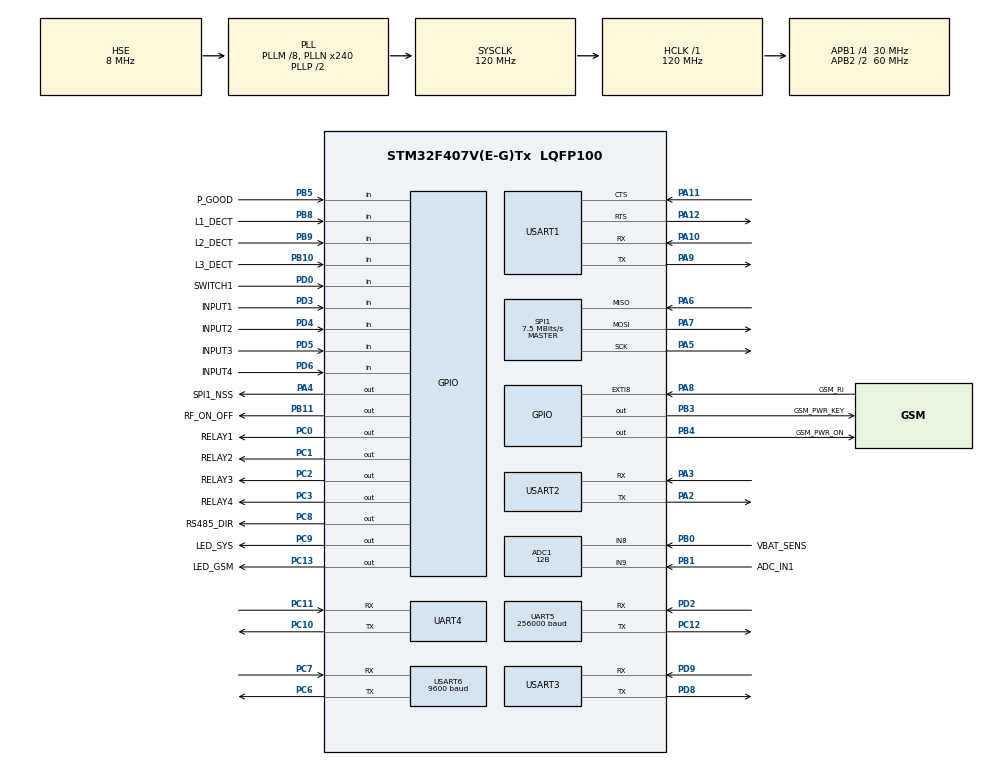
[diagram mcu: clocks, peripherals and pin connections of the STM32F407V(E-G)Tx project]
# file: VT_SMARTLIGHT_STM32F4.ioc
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ADC1.Channel-0\#ChannelRegularConversion=ADC_CHANNEL_8
ADC1.Channel-1\#ChannelRegularConversion=ADC_CHANNEL_8
ADC1.ClockPrescaler=ADC_CLOCK_SYNC_PCLK_DIV8
ADC1.ContinuousConvMode=ENABLE
ADC1.DMAContinuousRequests=ENABLE
ADC1.DataAlign=ADC_DATAALIGN_RIGHT
ADC1.DiscontinuousConvMode=DISABLE
ADC1.EOCSelection=ADC_EOC_SEQ_CONV
ADC1.EnableAnalogWatchDog=true
ADC1.ExternalTrigConv=ADC_SOFTWARE_START
ADC1.ExternalTrigConvEdge=ADC_EXTERNALTRIGCONVEDGE_NONE
ADC1.HighThreshold=0
ADC1.ITMode=DISABLE
ADC1.InjNumberOfConversion=0
ADC1.LowThreshold=0
ADC1.NbrOfConversion=2
ADC1.NbrOfConversionFlag=1
ADC1.Rank-0\#ChannelRegularConversion=1
ADC1.Rank-1\#ChannelRegularConversion=2
ADC1.Resolution=ADC_RESOLUTION_12B
ADC1.SamplingTime-0\#ChannelRegularConversion=ADC_SAMPLETIME_480CYCLES
ADC1.SamplingTime-1\#ChannelRegularConversion=ADC_SAMPLETIME_480CYCLES
ADC1.ScanConvMode=ENABLE
ADC1.WatchdogChannel=ADC_CHANNEL_8
ADC1.WatchdogMode=ADC_ANALOGWATCHDOG_SINGLE_REG
ADC1.master=1
Dma.ADC1.12.Direction=DMA_PERIPH_TO_MEMORY
Dma.ADC1.12.FIFOMode=DMA_FIFOMODE_DISABLE
Dma.ADC1.12.Instance=DMA2_Stream0
Dma.ADC1.12.MemDataAlignment=DMA_MDATAALIGN_HALFWORD
Dma.ADC1.12.MemInc=DMA_MINC_ENABLE
Dma.ADC1.12.Mode=DMA_NORMAL
Dma.ADC1.12.PeriphDataAlignment=DMA_PDATAALIGN_HALFWORD
Dma.ADC1.12.PeriphInc=DMA_PINC_DISABLE
Dma.ADC1.12.Priority=DMA_PRIORITY_LOW
Dma.Request0=UART4_RX
Dma.Request1=UART4_TX
Dma.Request10=USART6_RX
Dma.Request11=USART6_TX
Dma.Request12=ADC1
Dma.Request2=UART5_TX
Dma.Request3=UART5_RX
Dma.Request4=USART1_TX
Dma.Request5=USART1_RX
Dma.Request6=USART2_RX
Dma.Request7=USART2_TX
Dma.Request8=USART3_RX
Dma.Request9=USART3_TX
Dma.UART4_RX.0.Direction=DMA_PERIPH_TO_MEMORY
Dma.UART4_RX.0.FIFOMode=DMA_FIFOMODE_DISABLE
Dma.UART4_RX.0.Instance=DMA1_Stream2
Dma.UART4_RX.0.MemDataAlignment=DMA_MDATAALIGN_BYTE
Dma.UART4_RX.0.MemInc=DMA_MINC_ENABLE
Dma.UART4_RX.0.Mode=DMA_CIRCULAR
Dma.UART4_RX.0.PeriphDataAlignment=DMA_PDATAALIGN_BYTE
Dma.UART4_RX.0.PeriphInc=DMA_PINC_DISABLE
Dma.UART4_RX.0.Priority=DMA_PRIORITY_LOW
Dma.UART4_TX.1.Direction=DMA_MEMORY_TO_PERIPH
Dma.UART4_TX.1.FIFOMode=DMA_FIFOMODE_DISABLE
Dma.UART4_TX.1.Instance=DMA1_Stream4
Dma.UART4_TX.1.MemDataAlignment=DMA_MDATAALIGN_BYTE
Dma.UART4_TX.1.MemInc=DMA_MINC_ENABLE
Dma.UART4_TX.1.Mode=DMA_NORMAL
Dma.UART4_TX.1.PeriphDataAlignment=DMA_PDATAALIGN_BYTE
Dma.UART4_TX.1.PeriphInc=DMA_PINC_DISABLE
Dma.UART4_TX.1.Priority=DMA_PRIORITY_LOW
Dma.UART5_RX.3.Direction=DMA_PERIPH_TO_MEMORY
Dma.UART5_RX.3.FIFOMode=DMA_FIFOMODE_DISABLE
Dma.UART5_RX.3.Instance=DMA1_Stream0
Dma.UART5_RX.3.MemDataAlignment=DMA_MDATAALIGN_BYTE
Dma.UART5_RX.3.MemInc=DMA_MINC_ENABLE
Dma.UART5_RX.3.Mode=DMA_CIRCULAR
Dma.UART5_RX.3.PeriphDataAlignment=DMA_PDATAALIGN_BYTE
Dma.UART5_RX.3.PeriphInc=DMA_PINC_DISABLE
Dma.UART5_RX.3.Priority=DMA_PRIORITY_LOW
Dma.UART5_TX.2.Direction=DMA_MEMORY_TO_PERIPH
Dma.UART5_TX.2.FIFOMode=DMA_FIFOMODE_DISABLE
Dma.UART5_TX.2.Instance=DMA1_Stream7
Dma.UART5_TX.2.MemDataAlignment=DMA_MDATAALIGN_BYTE
Dma.UART5_TX.2.MemInc=DMA_MINC_ENABLE
Dma.UART5_TX.2.Mode=DMA_NORMAL
Dma.UART5_TX.2.PeriphDataAlignment=DMA_PDATAALIGN_BYTE
Dma.UART5_TX.2.PeriphInc=DMA_PINC_DISABLE
Dma.UART5_TX.2.Priority=DMA_PRIORITY_LOW
Dma.USART1_RX.5.Direction=DMA_PERIPH_TO_MEMORY
Dma.USART1_RX.5.FIFOMode=DMA_FIFOMODE_DISABLE
Dma.USART1_RX.5.Instance=DMA2_Stream2
Dma.USART1_RX.5.MemDataAlignment=DMA_MDATAALIGN_BYTE
Dma.USART1_RX.5.MemInc=DMA_MINC_ENABLE
Dma.USART1_RX.5.Mode=DMA_CIRCULAR
Dma.USART1_RX.5.PeriphDataAlignment=DMA_PDATAALIGN_BYTE
Dma.USART1_RX.5.PeriphInc=DMA_PINC_DISABLE
Dma.USART1_RX.5.Priority=DMA_PRIORITY_HIGH
Dma.USART1_TX.4.Direction=DMA_MEMORY_TO_PERIPH
Dma.USART1_TX.4.FIFOMode=DMA_FIFOMODE_DISABLE
Dma.USART1_TX.4.Instance=DMA2_Stream7
Dma.USART1_TX.4.MemDataAlignment=DMA_MDATAALIGN_BYTE
Dma.USART1_TX.4.MemInc=DMA_MINC_ENABLE
Dma.USART1_TX.4.Mode=DMA_NORMAL
Dma.USART1_TX.4.PeriphDataAlignment=DMA_PDATAALIGN_BYTE
Dma.USART1_TX.4.PeriphInc=DMA_PINC_DISABLE
Dma.USART1_TX.4.Priority=DMA_PRIORITY_HIGH
Dma.USART2_RX.6.Direction=DMA_PERIPH_TO_MEMORY
Dma.USART2_RX.6.FIFOMode=DMA_FIFOMODE_DISABLE
Dma.USART2_RX.6.Instance=DMA1_Stream5
Dma.USART2_RX.6.MemDataAlignment=DMA_MDATAALIGN_BYTE
Dma.USART2_RX.6.MemInc=DMA_MINC_ENABLE
Dma.USART2_RX.6.Mode=DMA_CIRCULAR
Dma.USART2_RX.6.PeriphDataAlignment=DMA_PDATAALIGN_BYTE
Dma.USART2_RX.6.PeriphInc=DMA_PINC_DISABLE
Dma.USART2_RX.6.Priority=DMA_PRIORITY_LOW
Dma.USART2_TX.7.Direction=DMA_MEMORY_TO_PERIPH
Dma.USART2_TX.7.FIFOMode=DMA_FIFOMODE_DISABLE
Dma.USART2_TX.7.Instance=DMA1_Stream6
Dma.USART2_TX.7.MemDataAlignment=DMA_MDATAALIGN_BYTE
Dma.USART2_TX.7.MemInc=DMA_MINC_ENABLE
Dma.USART2_TX.7.Mode=DMA_NORMAL
Dma.USART2_TX.7.PeriphDataAlignment=DMA_PDATAALIGN_BYTE
Dma.USART2_TX.7.PeriphInc=DMA_PINC_DISABLE
Dma.USART2_TX.7.Priority=DMA_PRIORITY_LOW
Dma.USART3_RX.8.Direction=DMA_PERIPH_TO_MEMORY
Dma.USART3_RX.8.FIFOMode=DMA_FIFOMODE_DISABLE
Dma.USART3_RX.8.Instance=DMA1_Stream1
Dma.USART3_RX.8.MemDataAlignment=DMA_MDATAALIGN_BYTE
Dma.USART3_RX.8.MemInc=DMA_MINC_ENABLE
Dma.USART3_RX.8.Mode=DMA_CIRCULAR
Dma.USART3_RX.8.PeriphDataAlignment=DMA_PDATAALIGN_BYTE
Dma.USART3_RX.8.PeriphInc=DMA_PINC_DISABLE
Dma.USART3_RX.8.Priority=DMA_PRIORITY_LOW
Dma.USART3_TX.9.Direction=DMA_MEMORY_TO_PERIPH
Dma.USART3_TX.9.FIFOMode=DMA_FIFOMODE_DISABLE
Dma.USART3_TX.9.Instance=DMA1_Stream3
Dma.USART3_TX.9.MemDataAlignment=DMA_MDATAALIGN_BYTE
Dma.USART3_TX.9.MemInc=DMA_MINC_ENABLE
Dma.USART3_TX.9.Mode=DMA_NORMAL
Dma.USART3_TX.9.PeriphDataAlignment=DMA_PDATAALIGN_BYTE
Dma.USART3_TX.9.PeriphInc=DMA_PINC_DISABLE
Dma.USART3_TX.9.Priority=DMA_PRIORITY_LOW
Dma.USART6_RX.10.Direction=DMA_PERIPH_TO_MEMORY
Dma.USART6_RX.10.FIFOMode=DMA_FIFOMODE_DISABLE
Dma.USART6_RX.10.Instance=DMA2_Stream1
Dma.USART6_RX.10.MemDataAlignment=DMA_MDATAALIGN_BYTE
Dma.USART6_RX.10.MemInc=DMA_MINC_ENABLE
Dma.USART6_RX.10.Mode=DMA_CIRCULAR
Dma.USART6_RX.10.PeriphDataAlignment=DMA_PDATAALIGN_BYTE
Dma.USART6_RX.10.PeriphInc=DMA_PINC_DISABLE
Dma.USART6_RX.10.Priority=DMA_PRIORITY_LOW
Dma.USART6_TX.11.Direction=DMA_MEMORY_TO_PERIPH
Dma.USART6_TX.11.FIFOMode=DMA_FIFOMODE_DISABLE
Dma.USART6_TX.11.Instance=DMA2_Stream6
Dma.USART6_TX.11.MemDataAlignment=DMA_MDATAALIGN_BYTE
Dma.USART6_TX.11.MemInc=DMA_MINC_ENABLE
Dma.USART6_TX.11.Mode=DMA_NORMAL
Dma.USART6_TX.11.PeriphDataAlignment=DMA_PDATAALIGN_BYTE
Dma.USART6_TX.11.PeriphInc=DMA_PINC_DISABLE
Dma.USART6_TX.11.Priority=DMA_PRIORITY_LOW
FREERTOS.INCLUDE_eTaskGetState=1
FREERTOS.INCLUDE_pcTaskGetTaskName=1
FREERTOS.INCLUDE_vTaskDelayUntil=1
FREERTOS.INCLUDE_xTaskGetCurrentTaskHandle=1
FREERTOS.Tasks01=defaultTask,0,1024,StartDefaultTask,Default,NULL,Dynamic,NULL,NULL
FREERTOS.configCHECK_FOR_STACK_OVERFLOW=2
FREERTOS.configGENERATE_RUN_TIME_STATS=1
FREERTOS.configTOTAL_HEAP_SIZE=65536
FREERTOS.configUSE_COUNTING_SEMAPHORES=1
FREERTOS.configUSE_IDLE_HOOK=1
FREERTOS.configUSE_MALLOC_FAILED_HOOK=1
FREERTOS.configUSE_RECURSIVE_MUTEXES=1
FREERTOS.configUSE_STATS_FORMATTING_FUNCTIONS=1
FREERTOS.configUSE_TICK_HOOK=1
FREERTOS.configUSE_TRACE_FACILITY=1
Mcu.Family=STM32F4
Mcu.Name=STM32F407V(E-G)Tx
Mcu.Package=LQFP100
Mcu.UserConstants=configAPPLICATION_ALLOCATED_HEAP,1
NVIC.DMA1_Stream0_IRQn=true\:5\:0\:false\:false\:true\:true\:false
NVIC.DMA1_Stream1_IRQn=true\:5\:0\:false\:false\:true\:true\:false
NVIC.DMA1_Stream2_IRQn=true\:5\:0\:false\:false\:true\:true\:false
NVIC.DMA1_Stream3_IRQn=true\:5\:0\:false\:false\:true\:true\:false
NVIC.DMA1_Stream4_IRQn=true\:5\:0\:false\:false\:true\:true\:false
NVIC.DMA1_Stream5_IRQn=true\:5\:0\:false\:false\:true\:true\:false
NVIC.DMA1_Stream6_IRQn=true\:5\:0\:false\:false\:true\:true\:false
NVIC.DMA1_Stream7_IRQn=true\:5\:0\:false\:false\:true\:true\:false
NVIC.DMA2_Stream0_IRQn=true\:5\:0\:false\:false\:true\:true\:false
NVIC.DMA2_Stream1_IRQn=true\:5\:0\:false\:false\:true\:true\:false
NVIC.DMA2_Stream2_IRQn=true\:5\:0\:false\:false\:true\:true\:false
NVIC.DMA2_Stream6_IRQn=true\:5\:0\:false\:false\:true\:true\:false
NVIC.DMA2_Stream7_IRQn=true\:5\:0\:false\:false\:true\:true\:false
NVIC.EXTI9_5_IRQn=true\:5\:0\:false\:false\:true\:true\:true
NVIC.PriorityGroup=NVIC_PRIORITYGROUP_4
NVIC.RTC_Alarm_IRQn=true\:0\:0\:false\:false\:true\:false\:true
NVIC.TIM1_UP_TIM10_IRQn=true\:0\:0\:false\:false\:true\:false\:false
NVIC.TimeBase=TIM1_UP_TIM10_IRQn
NVIC.TimeBaseIP=TIM1
NVIC.UART4_IRQn=true\:5\:0\:false\:false\:true\:true\:true
NVIC.UART5_IRQn=true\:5\:0\:false\:false\:true\:true\:true
NVIC.USART1_IRQn=true\:5\:0\:false\:false\:true\:true\:true
NVIC.USART2_IRQn=true\:5\:0\:false\:false\:true\:true\:true
NVIC.USART3_IRQn=true\:5\:0\:false\:false\:true\:true\:true
NVIC.USART6_IRQn=true\:5\:0\:false\:false\:true\:true\:true
PA10.Mode=Asynchronous
PA10.Signal=USART1_RX
PA11.Mode=CTS_RTS
PA11.Signal=USART1_CTS
PA12.Mode=CTS_RTS
PA12.Signal=USART1_RTS
PA13.Mode=Serial_Wire
PA13.Signal=SYS_JTMS-SWDIO
PA14.Mode=Serial_Wire
PA14.Signal=SYS_JTCK-SWCLK
PA2.Mode=Asynchronous
PA2.Signal=USART2_TX
PA3.Mode=Asynchronous
PA3.Signal=USART2_RX
PA4.GPIO_Label=SPI1_NSS
PA4.GPIO_Speed=GPIO_SPEED_FREQ_VERY_HIGH
PA4.PinState=GPIO_PIN_SET
PA4.Signal=GPIO_Output
PA5.Mode=Full_Duplex_Master
PA5.Signal=SPI1_SCK
PA6.GPIO_PuPd=GPIO_PULLUP
PA6.Mode=Full_Duplex_Master
PA6.Signal=SPI1_MISO
PA7.Mode=Full_Duplex_Master
PA7.Signal=SPI1_MOSI
PA8.GPIO_Label=GSM_RI
PA8.GPIO_PuPd=GPIO_PULLUP
PA8.Signal=GPXTI8
PA9.Mode=Asynchronous
PA9.Signal=USART1_TX
PB0.GPIO_Label=VBAT_SENS
PB0.Signal=ADCx_IN8
PB1.GPIO_Label=ADC_IN1
PB1.Signal=ADCx_IN9
PB10.GPIO_Label=L3_DECT
PB10.Signal=GPIO_Input
PB11.GPIO_Label=RF_ON_OFF
PB11.Signal=GPIO_Output
PB3.GPIO_Label=GSM_PWR_KEY
PB3.Signal=GPIO_Output
PB4.GPIO_Label=GSM_PWR_ON
PB4.PinState=GPIO_PIN_SET
PB4.Signal=GPIO_Output
PB5.GPIO_Label=P_GOOD
PB5.Signal=GPIO_Input
PB8.GPIO_Label=L1_DECT
PB8.Signal=GPIO_Input
PB9.GPIO_Label=L2_DECT
PB9.Signal=GPIO_Input
PC0.GPIO_Label=RELAY1
PC0.Signal=GPIO_Output
PC1.GPIO_Label=RELAY2
PC1.Signal=GPIO_Output
PC10.Mode=Asynchronous
PC10.Signal=UART4_TX
PC11.Mode=Asynchronous
PC11.Signal=UART4_RX
PC12.Mode=Asynchronous
PC12.Signal=UART5_TX
PC13-ANTI_TAMP.GPIO_Label=LED_GSM
PC13-ANTI_TAMP.Signal=GPIO_Output
PC14-OSC32_IN.Mode=LSE-External-Oscillator
PC14-OSC32_IN.Signal=RCC_OSC32_IN
PC15-OSC32_OUT.Mode=LSE-External-Oscillator
PC15-OSC32_OUT.Signal=RCC_OSC32_OUT
PC2.GPIO_Label=RELAY3
PC2.Signal=GPIO_Output
PC3.GPIO_Label=RELAY4
PC3.Signal=GPIO_Output
PC6.Mode=Asynchronous
PC6.Signal=USART6_TX
PC7.Mode=Asynchronous
PC7.Signal=USART6_RX
PC8.GPIO_Label=RS485_DIR
PC8.Signal=GPIO_Output
PC9.GPIO_Label=LED_SYS
PC9.Signal=GPIO_Output
PD0.GPIO_Label=SWITCH1
PD0.Signal=GPIO_Input
PD2.Mode=Asynchronous
PD2.Signal=UART5_RX
PD3.GPIO_Label=INPUT1
PD3.Signal=GPIO_Input
PD4.GPIO_Label=INPUT2
PD4.Signal=GPIO_Input
PD5.GPIO_Label=INPUT3
PD5.Signal=GPIO_Input
PD6.GPIO_Label=INPUT4
PD6.Signal=GPIO_Input
PD8.Mode=Asynchronous
PD8.Signal=USART3_TX
PD9.Mode=Asynchronous
PD9.Signal=USART3_RX
PH0-OSC_IN.Mode=HSE-External-Oscillator
PH0-OSC_IN.Signal=RCC_OSC_IN
PH1-OSC_OUT.Mode=HSE-External-Oscillator
PH1-OSC_OUT.Signal=RCC_OSC_OUT
ProjectManager.HeapSize=0x10000
ProjectManager.StackSize=0x1000
ProjectManager.TargetToolchain=MDK-ARM V5
RCC.48MHZClocksFreq_Value=48000000
RCC.AHBFreq_Value=120000000
RCC.APB1CLKDivider=RCC_HCLK_DIV4
RCC.APB1Freq_Value=30000000
RCC.APB1TimFreq_Value=60000000
RCC.APB2CLKDivider=RCC_HCLK_DIV2
RCC.APB2Freq_Value=60000000
RCC.APB2TimFreq_Value=120000000
RCC.CortexFreq_Value=120000000
RCC.HCLKFreq_Value=120000000
RCC.HSE_VALUE=8000000
RCC.HSI_VALUE=16000000
RCC.PLLM=8
RCC.PLLN=240
RCC.PLLQ=5
RCC.PLLSourceVirtual=RCC_PLLSOURCE_HSE
RCC.RCC_RTC_Clock_Source=RCC_RTCCLKSOURCE_LSE
RCC.RCC_RTC_Clock_SourceVirtual=RCC_RTCCLKSOURCE_LSE
RCC.SYSCLKFreq_VALUE=120000000
RCC.SYSCLKSource=RCC_SYSCLKSOURCE_PLLCLK
RCC.VCOOutputFreq_Value=240000000
RTC.Alarm=RTC_ALARM_A
RTC.AlarmMaskSeconds=RTC_ALARMMASK_SECONDS
RTC.Date=9
RTC.Month=RTC_MONTH_NOVEMBER
RTC.WeekDay=RTC_WEEKDAY_THURSDAY
RTC.Year=17
SH.ADCx_IN8.0=ADC1_IN8,IN8
SH.ADCx_IN9.0=ADC1_IN9,IN9
SPI1.BaudRatePrescaler=SPI_BAUDRATEPRESCALER_8
SPI1.CalculateBaudRate=7.5 MBits/s
SPI1.Direction=SPI_DIRECTION_2LINES
SPI1.Mode=SPI_MODE_MASTER
SPI1.VirtualType=VM_MASTER
UART4.VirtualMode=Asynchronous
UART5.BaudRate=256000
UART5.VirtualMode=Asynchronous
USART1.VirtualMode=VM_ASYNC
USART2.VirtualMode=VM_ASYNC
USART3.VirtualMode=VM_ASYNC
USART6.BaudRate=9600
USART6.VirtualMode=VM_ASYNC
VP_FREERTOS_VS_ENABLE.Mode=Enabled
VP_IWDG_VS_IWDG.Mode=IWDG_Activate
VP_RNG_VS_RNG.Mode=RNG_Activate
VP_RTC_VS_RTC_Activate.Mode=RTC_Enabled
VP_RTC_VS_RTC_Alarm_A_Intern.Mode=Alarm A
VP_RTC_VS_RTC_Calendar.Mode=RTC_Calendar
VP_SYS_VS_tim1.Mode=TIM1
board=VT_SMARTLIGHT_STM32F4

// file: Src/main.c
/**
  ******************************************************************************
  * File Name          : main.c
  * Description        : Main program body
  ******************************************************************************
  * This notice applies to any and all portions of this file
  * that are not between comment pairs USER CODE BEGIN and
  * USER CODE END. Other portions of this file, whether
  * inserted by the user or by software development tools
  * are owned by their respective copyright owners.
  *
  * Copyright (c) 2018 STMicroelectronics International N.V.
  * All rights reserved.
  *
  * Redistribution and use in source and binary forms, with or without
  * modification, are permitted, provided that the following conditions are met:
  *
  * 1. Redistribution of source code must retain the above copyright notice,
  *    this list of conditions and the following disclaimer.
  * 2. Redistributions in binary form must reproduce the above copyright notice,
  *    this list of conditions and the following disclaimer in the documentation
  *    and/or other materials provided with the distribution.
  * 3. Neither the name of STMicroelectronics nor the names of other
  *    contributors to this software may be used to endorse or promote products
  *    derived from this software without specific written permission.
  * 4. This software, including modifications and/or derivative works of this
  *    software, must execute solely and exclusively on microcontroller or
  *    microprocessor devices manufactured by or for STMicroelectronics.
  * 5. Redistribution and use of this software other than as permitted under
  *    this license is void and will automatically terminate your rights under
  *    this license.
  *
  * THIS SOFTWARE IS PROVIDED BY STMICROELECTRONICS AND CONTRIBUTORS "AS IS"
  * AND ANY EXPRESS, IMPLIED OR STATUTORY WARRANTIES, INCLUDING, BUT NOT
  * LIMITED TO, THE IMPLIED WARRANTIES OF MERCHANTABILITY, FITNESS FOR A
  * PARTICULAR PURPOSE AND NON-INFRINGEMENT OF THIRD PARTY INTELLECTUAL PROPERTY
  * RIGHTS ARE DISCLAIMED TO THE FULLEST EXTENT PERMITTED BY LAW. IN NO EVENT
  * SHALL STMICROELECTRONICS OR CONTRIBUTORS BE LIABLE FOR ANY DIRECT, INDIRECT,
  * INCIDENTAL, SPECIAL, EXEMPLARY, OR CONSEQUENTIAL DAMAGES (INCLUDING, BUT NOT
  * LIMITED TO, PROCUREMENT OF SUBSTITUTE GOODS OR SERVICES; LOSS OF USE, DATA,
  * OR PROFITS; OR BUSINESS INTERRUPTION) HOWEVER CAUSED AND ON ANY THEORY OF
  * LIABILITY, WHETHER IN CONTRACT, STRICT LIABILITY, OR TORT (INCLUDING
  * NEGLIGENCE OR OTHERWISE) ARISING IN ANY WAY OUT OF THE USE OF THIS SOFTWARE,
  * EVEN IF ADVISED OF THE POSSIBILITY OF SUCH DAMAGE.
  *
  ******************************************************************************
  */

#include "main.h"
#include "stm32f4xx_hal.h"
#include "cmsis_os.h"

/* USER CODE BEGIN Includes */
#include "uart1.h"
#include "uart5.h"
#include "lib/sys_time.h"
#include "system_config.h"
#include "ampm_gsm_main_task.h"
#include "hw_config.h"
#include "lib/sys_time.h"
#include "ntp_server.h"
#include "smartlight.h"
/* FreeRTOS+Trace includes. */
#include "trcUser.h"
#include "watchdog.h"
#include "sha256.h"
#include "relay.h"
#include "led.h"
#include "test_spiffs.h"
/* USER CODE END Includes */

ADC_HandleTypeDef hadc1;
DMA_HandleTypeDef hdma_adc1;

IWDG_HandleTypeDef hiwdg;

RNG_HandleTypeDef hrng;

RTC_HandleTypeDef hrtc;
RTC_TimeTypeDef sTime;
RTC_DateTypeDef sDate;

SPI_HandleTypeDef hspi1;

UART_HandleTypeDef huart4;
UART_HandleTypeDef huart5;
UART_HandleTypeDef huart1;
UART_HandleTypeDef huart2;
UART_HandleTypeDef huart3;
UART_HandleTypeDef huart6;
DMA_HandleTypeDef hdma_uart4_rx;
DMA_HandleTypeDef hdma_uart4_tx;
DMA_HandleTypeDef hdma_uart5_tx;
DMA_HandleTypeDef hdma_uart5_rx;
DMA_HandleTypeDef hdma_usart1_tx;
DMA_HandleTypeDef hdma_usart1_rx;
DMA_HandleTypeDef hdma_usart2_rx;
DMA_HandleTypeDef hdma_usart2_tx;
DMA_HandleTypeDef hdma_usart3_rx;
DMA_HandleTypeDef hdma_usart3_tx;
DMA_HandleTypeDef hdma_usart6_rx;
DMA_HandleTypeDef hdma_usart6_tx;

osThreadId defaultTaskHandle;

/* USER CODE BEGIN PV */
/* Private variables ---------------------------------------------------------*/
osSemaphoreDef(PUTC);
osSemaphoreDef(PRINTF);
osSemaphoreDef(AWS_SYNC);
/* USER CODE END PV */

void SystemClock_Config(void);
static void MX_GPIO_Init(void);
static void MX_DMA_Init(void);
static void MX_ADC1_Init(void);
static void MX_IWDG_Init(void);
static void MX_RNG_Init(void);
static void MX_RTC_Init(void);
static void MX_UART4_Init(void);
static void MX_UART5_Init(void);
static void MX_USART1_UART_Init(void);
static void MX_USART2_UART_Init(void);
static void MX_USART3_UART_Init(void);
static void MX_USART6_UART_Init(void);
static void MX_SPI1_Init(void);
void StartDefaultTask(void const * argument);

/* USER CODE BEGIN PFP */
extern void vUARTCommandConsoleStart( uint16_t usStackSize, UBaseType_t uxPriority );
extern void vRegisterCLICommands( void );
/* Private function prototypes -----------------------------------------------*/
uint8_t ucHeap[ configTOTAL_HEAP_SIZE ] __attribute__ ((__section__("osRam")));
osSemaphoreId putc_sem_id;
osSemaphoreId mprintf_sem_id;
osSemaphoreId aws_sem_id;
uint32_t life_span = 0;
int fputc( int iChar, FILE *pxNotUsed )
{
		if(osSemaphoreWait(putc_sem_id, 100) == osOK)
		{
			mUART5_PutChar(iChar);
		}
		osSemaphoreRelease(putc_sem_id);
  	return( iChar );
}

int  m_printf(const uint8_t *format, ...)
{
	if(osSemaphoreWait(mprintf_sem_id, 500) == osOK)
	{
		static  uint8_t  buffer[512];
		uint16_t len = 0,i;
		__va_list     vArgs;
		__va_start(vArgs, format);
		len = sprintf((char *)buffer,"\n\rUTC:%04d/%02d/%02d %02d:%02d:%02d #",sysTime.year,sysTime.month,sysTime.mday,sysTime.hour,sysTime.min,sysTime.sec);
		len += vsprintf((char *)&buffer[len], (char const *)format, vArgs);
		__va_end(vArgs);
		for(i = 0;i < len; i++)
		{
				fputc(buffer[i],NULL);
		}
	}
	osSemaphoreRelease(mprintf_sem_id);
	return 0;
}

void aws_task_lock(void)
{
    osSemaphoreWait(aws_sem_id, osWaitForever);
}
void aws_task_unlock(void)
{
  osSemaphoreRelease(aws_sem_id);
}

/* USER CODE END PFP */

/* USER CODE BEGIN 0 */
/**
  * @brief  Display the current time and date.
  * @param  showtime : pointer to buffer
  * @param  showdate : pointer to buffer
  * @retval None
  */

/* USER CODE END 0 */

int main(void)
{

  /* USER CODE BEGIN 1 */
//	while(1);
	if(variableNoInit.ramOk != 0xA5A5A5A5)
	{
		variableNoInit.deviceStatus = 0;
		variableNoInit.lineStatus = 0;
	}
	variableNoInit.ramOk = 0xA5A5A5A5;
  /* USER CODE END 1 */

  /* MCU Configuration----------------------------------------------------------*/

  /* Reset of all peripherals, Initializes the Flash interface and the Systick. */
  HAL_Init();

  /* Configure the system clock */
  SystemClock_Config();

  /* Initialize all configured peripherals */
  MX_GPIO_Init();
  MX_DMA_Init();
  MX_ADC1_Init();
  MX_IWDG_Init();
  MX_RNG_Init();
  MX_RTC_Init();
  MX_UART4_Init();
  MX_UART5_Init();
  MX_USART1_UART_Init();
  MX_USART2_UART_Init();
  MX_USART3_UART_Init();
  MX_USART6_UART_Init();
  MX_SPI1_Init();

  /* USER CODE BEGIN 2 */
	HAL_Delay(1000);
	SysTimeSetup();
	CFG_Load();
	SysWatchdogInit();
	relay_init();

  /* USER CODE END 2 */

  /* USER CODE BEGIN RTOS_SEMAPHORES */
  /* add semaphores, ... */
	putc_sem_id = osSemaphoreCreate(osSemaphore(PUTC), 1);
	mprintf_sem_id = osSemaphoreCreate(osSemaphore(PRINTF), 1);
	aws_sem_id = osSemaphoreCreate(osSemaphore(AWS_SYNC), 1);
	osSemaphoreWait(aws_sem_id, 0);
  /* USER CODE END RTOS_SEMAPHORES */

  /* USER CODE BEGIN RTOS_TIMERS */
	#if TRACE_ENABLE
	vTraceInitTraceData();
	#endif
  /* start timers, add new ones, ... */
  /* USER CODE END RTOS_TIMERS */

  /* Create the thread(s) */
  /* definition and creation of defaultTask */
  osThreadDef(defaultTask, StartDefaultTask, osPriorityNormal, 0, 1024);
  defaultTaskHandle = osThreadCreate(osThread(defaultTask), NULL);

  /* USER CODE BEGIN RTOS_THREADS */
  /* add threads, ... */
	#if TRACE_ENABLE
  vUARTCommandConsoleStart( configMINIMAL_STACK_SIZE * 3UL, tskIDLE_PRIORITY + 0);
	/* Register the standard CLI commands. */
	vRegisterCLICommands();
	#endif
  /* USER CODE END RTOS_THREADS */

  /* Start scheduler */
  osKernelStart();

  /* We should never get here as control is now taken by the scheduler */

  /* Infinite loop */
  while (1)
  {

  }

}

/** System Clock Configuration
*/
void SystemClock_Config(void)
{

  RCC_OscInitTypeDef RCC_OscInitStruct;
  RCC_ClkInitTypeDef RCC_ClkInitStruct;
  RCC_PeriphCLKInitTypeDef PeriphClkInitStruct;

    /**Configure the main internal regulator output voltage
    */
  __HAL_RCC_PWR_CLK_ENABLE();

  __HAL_PWR_VOLTAGESCALING_CONFIG(PWR_REGULATOR_VOLTAGE_SCALE1);

    /**Initializes the CPU, AHB and APB busses clocks
    */
  RCC_OscInitStruct.OscillatorType = RCC_OSCILLATORTYPE_LSI|RCC_OSCILLATORTYPE_HSE
                              |RCC_OSCILLATORTYPE_LSE;
  RCC_OscInitStruct.HSEState = RCC_HSE_ON;
  RCC_OscInitStruct.LSEState = RCC_LSE_ON;
  RCC_OscInitStruct.LSIState = RCC_LSI_ON;
  RCC_OscInitStruct.PLL.PLLState = RCC_PLL_ON;
  RCC_OscInitStruct.PLL.PLLSource = RCC_PLLSOURCE_HSE;
  RCC_OscInitStruct.PLL.PLLM = 8;
  RCC_OscInitStruct.PLL.PLLN = 240;
  RCC_OscInitStruct.PLL.PLLP = RCC_PLLP_DIV2;
  RCC_OscInitStruct.PLL.PLLQ = 5;
  if (HAL_RCC_OscConfig(&RCC_OscInitStruct) != HAL_OK)
  {
    _Error_Handler(__FILE__, __LINE__);
  }

    /**Initializes the CPU, AHB and APB busses clocks
    */
  RCC_ClkInitStruct.ClockType = RCC_CLOCKTYPE_HCLK|RCC_CLOCKTYPE_SYSCLK
                              |RCC_CLOCKTYPE_PCLK1|RCC_CLOCKTYPE_PCLK2;
  RCC_ClkInitStruct.SYSCLKSource = RCC_SYSCLKSOURCE_PLLCLK;
  RCC_ClkInitStruct.AHBCLKDivider = RCC_SYSCLK_DIV1;
  RCC_ClkInitStruct.APB1CLKDivider = RCC_HCLK_DIV4;
  RCC_ClkInitStruct.APB2CLKDivider = RCC_HCLK_DIV2;

  if (HAL_RCC_ClockConfig(&RCC_ClkInitStruct, FLASH_LATENCY_3) != HAL_OK)
  {
    _Error_Handler(__FILE__, __LINE__);
  }

  PeriphClkInitStruct.PeriphClockSelection = RCC_PERIPHCLK_RTC;
  PeriphClkInitStruct.RTCClockSelection = RCC_RTCCLKSOURCE_LSE;
  if (HAL_RCCEx_PeriphCLKConfig(&PeriphClkInitStruct) != HAL_OK)
  {
    _Error_Handler(__FILE__, __LINE__);
  }

    /**Configure the Systick interrupt time
    */
  HAL_SYSTICK_Config(HAL_RCC_GetHCLKFreq()/1000);

    /**Configure the Systick
    */
  HAL_SYSTICK_CLKSourceConfig(SYSTICK_CLKSOURCE_HCLK);

  /* SysTick_IRQn interrupt configuration */
  HAL_NVIC_SetPriority(SysTick_IRQn, 15, 0);
}

/* ADC1 init function */
static void MX_ADC1_Init(void)
{

  ADC_AnalogWDGConfTypeDef AnalogWDGConfig;
  ADC_ChannelConfTypeDef sConfig;

    /**Configure the global features of the ADC (Clock, Resolution, Data Alignment and number of conversion)
    */
  hadc1.Instance = ADC1;
  hadc1.Init.ClockPrescaler = ADC_CLOCK_SYNC_PCLK_DIV8;
  hadc1.Init.Resolution = ADC_RESOLUTION_12B;
  hadc1.Init.ScanConvMode = ENABLE;
  hadc1.Init.ContinuousConvMode = ENABLE;
  hadc1.Init.DiscontinuousConvMode = DISABLE;
  hadc1.Init.ExternalTrigConvEdge = ADC_EXTERNALTRIGCONVEDGE_NONE;
  hadc1.Init.ExternalTrigConv = ADC_SOFTWARE_START;
  hadc1.Init.DataAlign = ADC_DATAALIGN_RIGHT;
  hadc1.Init.NbrOfConversion = 2;
  hadc1.Init.DMAContinuousRequests = ENABLE;
  hadc1.Init.EOCSelection = ADC_EOC_SEQ_CONV;
  if (HAL_ADC_Init(&hadc1) != HAL_OK)
  {
    _Error_Handler(__FILE__, __LINE__);
  }

    /**Configure the analog watchdog
    */
  AnalogWDGConfig.WatchdogMode = ADC_ANALOGWATCHDOG_SINGLE_REG;
  AnalogWDGConfig.HighThreshold = 0;
  AnalogWDGConfig.LowThreshold = 0;
  AnalogWDGConfig.Channel = ADC_CHANNEL_8;
  AnalogWDGConfig.ITMode = DISABLE;
  if (HAL_ADC_AnalogWDGConfig(&hadc1, &AnalogWDGConfig) != HAL_OK)
  {
    _Error_Handler(__FILE__, __LINE__);
  }

    /**Configure for the selected ADC regular channel its corresponding rank in the sequencer and its sample time.
    */
  sConfig.Channel = ADC_CHANNEL_8;
  sConfig.Rank = 1;
  sConfig.SamplingTime = ADC_SAMPLETIME_480CYCLES;
  if (HAL_ADC_ConfigChannel(&hadc1, &sConfig) != HAL_OK)
  {
    _Error_Handler(__FILE__, __LINE__);
  }

    /**Configure for the selected ADC regular channel its corresponding rank in the sequencer and its sample time.
    */
  sConfig.Rank = 2;
  if (HAL_ADC_ConfigChannel(&hadc1, &sConfig) != HAL_OK)
  {
    _Error_Handler(__FILE__, __LINE__);
  }

}

/* IWDG init function */
static void MX_IWDG_Init(void)
{

  hiwdg.Instance = IWDG;
  hiwdg.Init.Prescaler = IWDG_PRESCALER_4;
  hiwdg.Init.Reload = 4095;
  if (HAL_IWDG_Init(&hiwdg) != HAL_OK)
  {
    _Error_Handler(__FILE__, __LINE__);
  }

}

/* RNG init function */
static void MX_RNG_Init(void)
{

  hrng.Instance = RNG;
  if (HAL_RNG_Init(&hrng) != HAL_OK)
  {
    _Error_Handler(__FILE__, __LINE__);
  }

}

/* RTC init function */
static void MX_RTC_Init(void)
{

    /**Initialize RTC Only
    */
  hrtc.Instance = RTC;
  hrtc.Init.HourFormat = RTC_HOURFORMAT_24;
  hrtc.Init.AsynchPrediv = 127;
  hrtc.Init.SynchPrediv = 255;
  hrtc.Init.OutPut = RTC_OUTPUT_DISABLE;
  hrtc.Init.OutPutPolarity = RTC_OUTPUT_POLARITY_HIGH;
  hrtc.Init.OutPutType = RTC_OUTPUT_TYPE_OPENDRAIN;
  if (HAL_RTC_Init(&hrtc) != HAL_OK)
  {
    _Error_Handler(__FILE__, __LINE__);
  }

    /**Initialize RTC and set the Time and Date
    */
  if(HAL_RTCEx_BKUPRead(&hrtc, RTC_BKP_DR0) != 0x32F2){
  if (HAL_RTC_SetTime(&hrtc, &sTime, RTC_FORMAT_BIN) != HAL_OK)
  {
    _Error_Handler(__FILE__, __LINE__);
  }

  if (HAL_RTC_SetDate(&hrtc, &sDate, RTC_FORMAT_BIN) != HAL_OK)
  {
    _Error_Handler(__FILE__, __LINE__);
  }

    HAL_RTCEx_BKUPWrite(&hrtc,RTC_BKP_DR0,0x32F2);
  }
    /**Enable the Alarm A
    */
//  sAlarm.AlarmTime.Hours = 0x0;
//  sAlarm.AlarmTime.Minutes = 0x0;
//  sAlarm.AlarmTime.Seconds = 0x0;
//  sAlarm.AlarmTime.SubSeconds = 0x0;
//  sAlarm.AlarmTime.DayLightSaving = RTC_DAYLIGHTSAVING_NONE;
//  sAlarm.AlarmTime.StoreOperation = RTC_STOREOPERATION_RESET;
//  sAlarm.AlarmMask = RTC_ALARMMASK_SECONDS;
//  sAlarm.AlarmSubSecondMask = RTC_ALARMSUBSECONDMASK_ALL;
//  sAlarm.AlarmDateWeekDaySel = RTC_ALARMDATEWEEKDAYSEL_DATE;
//  sAlarm.AlarmDateWeekDay = 0x1;
//  sAlarm.Alarm = RTC_ALARM_A;
//  if (HAL_RTC_SetAlarm_IT(&hrtc, &sAlarm, RTC_FORMAT_BIN) != HAL_OK)
//  {
//    _Error_Handler(__FILE__, __LINE__);
//  }

}

/* SPI1 init function */
static void MX_SPI1_Init(void)
{

  /* SPI1 parameter configuration*/
  hspi1.Instance = SPI1;
  hspi1.Init.Mode = SPI_MODE_MASTER;
  hspi1.Init.Direction = SPI_DIRECTION_2LINES;
  hspi1.Init.DataSize = SPI_DATASIZE_8BIT;
  hspi1.Init.CLKPolarity = SPI_POLARITY_LOW;
  hspi1.Init.CLKPhase = SPI_PHASE_1EDGE;
  hspi1.Init.NSS = SPI_NSS_SOFT;
  hspi1.Init.BaudRatePrescaler = SPI_BAUDRATEPRESCALER_8;
  hspi1.Init.FirstBit = SPI_FIRSTBIT_MSB;
  hspi1.Init.TIMode = SPI_TIMODE_DISABLE;
  hspi1.Init.CRCCalculation = SPI_CRCCALCULATION_DISABLE;
  hspi1.Init.CRCPolynomial = 10;
  if (HAL_SPI_Init(&hspi1) != HAL_OK)
  {
    _Error_Handler(__FILE__, __LINE__);
  }

}

/* UART4 init function */
static void MX_UART4_Init(void)
{

  huart4.Instance = UART4;
  huart4.Init.BaudRate = 115200;
  huart4.Init.WordLength = UART_WORDLENGTH_8B;
  huart4.Init.StopBits = UART_STOPBITS_1;
  huart4.Init.Parity = UART_PARITY_NONE;
  huart4.Init.Mode = UART_MODE_TX_RX;
  huart4.Init.HwFlowCtl = UART_HWCONTROL_NONE;
  huart4.Init.OverSampling = UART_OVERSAMPLING_16;
  if (HAL_UART_Init(&huart4) != HAL_OK)
  {
    _Error_Handler(__FILE__, __LINE__);
  }

}

/* UART5 init function */
static void MX_UART5_Init(void)
{

  huart5.Instance = UART5;
  huart5.Init.BaudRate = 256000;
  huart5.Init.WordLength = UART_WORDLENGTH_8B;
  huart5.Init.StopBits = UART_STOPBITS_1;
  huart5.Init.Parity = UART_PARITY_NONE;
  huart5.Init.Mode = UART_MODE_TX_RX;
  huart5.Init.HwFlowCtl = UART_HWCONTROL_NONE;
  huart5.Init.OverSampling = UART_OVERSAMPLING_16;
  if (HAL_UART_Init(&huart5) != HAL_OK)
  {
    _Error_Handler(__FILE__, __LINE__);
  }

}

/* USART1 init function */
static void MX_USART1_UART_Init(void)
{

  huart1.Instance = USART1;
  huart1.Init.BaudRate = 115200;
  huart1.Init.WordLength = UART_WORDLENGTH_8B;
  huart1.Init.StopBits = UART_STOPBITS_1;
  huart1.Init.Parity = UART_PARITY_NONE;
  huart1.Init.Mode = UART_MODE_TX_RX;
  huart1.Init.HwFlowCtl = UART_HWCONTROL_RTS_CTS;
  huart1.Init.OverSampling = UART_OVERSAMPLING_16;
  if (HAL_UART_Init(&huart1) != HAL_OK)
  {
    _Error_Handler(__FILE__, __LINE__);
  }

}

/* USART2 init function */
static void MX_USART2_UART_Init(void)
{

  huart2.Instance = USART2;
  huart2.Init.BaudRate = 115200;
  huart2.Init.WordLength = UART_WORDLENGTH_8B;
  huart2.Init.StopBits = UART_STOPBITS_1;
  huart2.Init.Parity = UART_PARITY_NONE;
  huart2.Init.Mode = UART_MODE_TX_RX;
  huart2.Init.HwFlowCtl = UART_HWCONTROL_NONE;
  huart2.Init.OverSampling = UART_OVERSAMPLING_16;
  if (HAL_UART_Init(&huart2) != HAL_OK)
  {
    _Error_Handler(__FILE__, __LINE__);
  }

}

/* USART3 init function */
static void MX_USART3_UART_Init(void)
{

  huart3.Instance = USART3;
  huart3.Init.BaudRate = 115200;
  huart3.Init.WordLength = UART_WORDLENGTH_8B;
  huart3.Init.StopBits = UART_STOPBITS_1;
  huart3.Init.Parity = UART_PARITY_NONE;
  huart3.Init.Mode = UART_MODE_TX_RX;
  huart3.Init.HwFlowCtl = UART_HWCONTROL_NONE;
  huart3.Init.OverSampling = UART_OVERSAMPLING_16;
  if (HAL_UART_Init(&huart3) != HAL_OK)
  {
    _Error_Handler(__FILE__, __LINE__);
  }

}

/* USART6 init function */
static void MX_USART6_UART_Init(void)
{

  huart6.Instance = USART6;
  huart6.Init.BaudRate = 9600;
  huart6.Init.WordLength = UART_WORDLENGTH_8B;
  huart6.Init.StopBits = UART_STOPBITS_1;
  huart6.Init.Parity = UART_PARITY_NONE;
  huart6.Init.Mode = UART_MODE_TX_RX;
  huart6.Init.HwFlowCtl = UART_HWCONTROL_NONE;
  huart6.Init.OverSampling = UART_OVERSAMPLING_16;
  if (HAL_UART_Init(&huart6) != HAL_OK)
  {
    _Error_Handler(__FILE__, __LINE__);
  }

}

static void MX_DMA_Init(void)
{
  /* DMA controller clock enable */
  __HAL_RCC_DMA1_CLK_ENABLE();
  __HAL_RCC_DMA2_CLK_ENABLE();

  /* DMA interrupt init */
  /* DMA1_Stream0_IRQn interrupt configuration */
  HAL_NVIC_SetPriority(DMA1_Stream0_IRQn, 5, 0);
  HAL_NVIC_EnableIRQ(DMA1_Stream0_IRQn);
  /* DMA1_Stream1_IRQn interrupt configuration */
  HAL_NVIC_SetPriority(DMA1_Stream1_IRQn, 5, 0);
  HAL_NVIC_EnableIRQ(DMA1_Stream1_IRQn);
  /* DMA1_Stream2_IRQn interrupt configuration */
  HAL_NVIC_SetPriority(DMA1_Stream2_IRQn, 5, 0);
  HAL_NVIC_EnableIRQ(DMA1_Stream2_IRQn);
  /* DMA1_Stream3_IRQn interrupt configuration */
  HAL_NVIC_SetPriority(DMA1_Stream3_IRQn, 5, 0);
  HAL_NVIC_EnableIRQ(DMA1_Stream3_IRQn);
  /* DMA1_Stream4_IRQn interrupt configuration */
  HAL_NVIC_SetPriority(DMA1_Stream4_IRQn, 5, 0);
  HAL_NVIC_EnableIRQ(DMA1_Stream4_IRQn);
  /* DMA1_Stream5_IRQn interrupt configuration */
  HAL_NVIC_SetPriority(DMA1_Stream5_IRQn, 5, 0);
  HAL_NVIC_EnableIRQ(DMA1_Stream5_IRQn);
  /* DMA1_Stream6_IRQn interrupt configuration */
  HAL_NVIC_SetPriority(DMA1_Stream6_IRQn, 5, 0);
  HAL_NVIC_EnableIRQ(DMA1_Stream6_IRQn);
  /* DMA1_Stream7_IRQn interrupt configuration */
  HAL_NVIC_SetPriority(DMA1_Stream7_IRQn, 5, 0);
  HAL_NVIC_EnableIRQ(DMA1_Stream7_IRQn);
  /* DMA2_Stream0_IRQn interrupt configuration */
  HAL_NVIC_SetPriority(DMA2_Stream0_IRQn, 5, 0);
  HAL_NVIC_EnableIRQ(DMA2_Stream0_IRQn);
  /* DMA2_Stream1_IRQn interrupt configuration */
  HAL_NVIC_SetPriority(DMA2_Stream1_IRQn, 5, 0);
  HAL_NVIC_EnableIRQ(DMA2_Stream1_IRQn);
  /* DMA2_Stream2_IRQn interrupt configuration */
  HAL_NVIC_SetPriority(DMA2_Stream2_IRQn, 5, 0);
  HAL_NVIC_EnableIRQ(DMA2_Stream2_IRQn);
  /* DMA2_Stream6_IRQn interrupt configuration */
  HAL_NVIC_SetPriority(DMA2_Stream6_IRQn, 5, 0);
  HAL_NVIC_EnableIRQ(DMA2_Stream6_IRQn);
  /* DMA2_Stream7_IRQn interrupt configuration */
  HAL_NVIC_SetPriority(DMA2_Stream7_IRQn, 5, 0);
  HAL_NVIC_EnableIRQ(DMA2_Stream7_IRQn);

}

/** Configure pins as
        * Analog
        * Input
        * Output
        * EVENT_OUT
        * EXTI
*/
static void MX_GPIO_Init(void)
{

  GPIO_InitTypeDef GPIO_InitStruct;

  /* GPIO Ports Clock Enable */
  __HAL_RCC_GPIOC_CLK_ENABLE();
  __HAL_RCC_GPIOH_CLK_ENABLE();
  __HAL_RCC_GPIOA_CLK_ENABLE();
  __HAL_RCC_GPIOB_CLK_ENABLE();
  __HAL_RCC_GPIOD_CLK_ENABLE();

  /*Configure GPIO pin Output Level */
  HAL_GPIO_WritePin(GPIOC, LED_GSM_Pin|RELAY1_Pin|RELAY2_Pin|RELAY3_Pin
                          |RELAY4_Pin|RS485_DIR_Pin|LED_SYS_Pin, GPIO_PIN_RESET);

  /*Configure GPIO pin Output Level */
  HAL_GPIO_WritePin(SPI1_NSS_GPIO_Port, SPI1_NSS_Pin, GPIO_PIN_SET);
	if(variableNoInit.ramOk == 0xA5A5A5A5)
	{
		if(variableNoInit.lineStatus & (1<<0))
			HAL_GPIO_WritePin(RELAY1_GPIO_Port, RELAY1_Pin, GPIO_PIN_SET);
		else
			HAL_GPIO_WritePin(RELAY1_GPIO_Port, RELAY1_Pin, GPIO_PIN_RESET);
		if(variableNoInit.lineStatus & (1<<1))
			HAL_GPIO_WritePin(RELAY2_GPIO_Port, RELAY2_Pin, GPIO_PIN_SET);
		else
			HAL_GPIO_WritePin(RELAY2_GPIO_Port, RELAY2_Pin, GPIO_PIN_RESET);
		if(variableNoInit.lineStatus & (1<<2))
			HAL_GPIO_WritePin(RELAY3_GPIO_Port, RELAY3_Pin, GPIO_PIN_SET);
		else
			HAL_GPIO_WritePin(RELAY3_GPIO_Port, RELAY3_Pin, GPIO_PIN_RESET);
		if(variableNoInit.lineStatus & (1<<3))
			HAL_GPIO_WritePin(RELAY4_GPIO_Port, RELAY4_Pin, GPIO_PIN_SET);
		else
			HAL_GPIO_WritePin(RELAY4_GPIO_Port, RELAY4_Pin, GPIO_PIN_RESET);
	}
  /*Configure GPIO pin Output Level */
  HAL_GPIO_WritePin(GPIOB, RF_ON_OFF_Pin|GSM_PWR_KEY_Pin, GPIO_PIN_RESET);
	HAL_GPIO_WritePin(GPIOB, GSM_PWR_ON_Pin, GPIO_PIN_SET);
  /*Configure GPIO pins : LED_GSM_Pin RELAY1_Pin RELAY2_Pin RELAY3_Pin
                           RELAY4_Pin RS485_DIR_Pin LED_SYS_Pin */
  GPIO_InitStruct.Pin = LED_GSM_Pin|RELAY1_Pin|RELAY2_Pin|RELAY3_Pin
                          |RELAY4_Pin|RS485_DIR_Pin|LED_SYS_Pin;
  GPIO_InitStruct.Mode = GPIO_MODE_OUTPUT_PP;
  GPIO_InitStruct.Pull = GPIO_NOPULL;
  GPIO_InitStruct.Speed = GPIO_SPEED_FREQ_LOW;
  HAL_GPIO_Init(GPIOC, &GPIO_InitStruct);

  /*Configure GPIO pin : SPI1_NSS_Pin */
  GPIO_InitStruct.Pin = SPI1_NSS_Pin;
  GPIO_InitStruct.Mode = GPIO_MODE_OUTPUT_PP;
  GPIO_InitStruct.Pull = GPIO_NOPULL;
  GPIO_InitStruct.Speed = GPIO_SPEED_FREQ_VERY_HIGH;
  HAL_GPIO_Init(SPI1_NSS_GPIO_Port, &GPIO_InitStruct);

  /*Configure GPIO pins : L3_DECT_Pin P_GOOD_Pin L1_DECT_Pin L2_DECT_Pin */
  GPIO_InitStruct.Pin = L3_DECT_Pin|P_GOOD_Pin|L1_DECT_Pin|L2_DECT_Pin;
  GPIO_InitStruct.Mode = GPIO_MODE_INPUT;
  GPIO_InitStruct.Pull = GPIO_NOPULL;
  HAL_GPIO_Init(GPIOB, &GPIO_InitStruct);

  /*Configure GPIO pins : RF_ON_OFF_Pin GSM_PWR_KEY_Pin GSM_PWR_ON_Pin */
  GPIO_InitStruct.Pin = RF_ON_OFF_Pin|GSM_PWR_KEY_Pin|GSM_PWR_ON_Pin;
  GPIO_InitStruct.Mode = GPIO_MODE_OUTPUT_PP;
  GPIO_InitStruct.Pull = GPIO_NOPULL;
  GPIO_InitStruct.Speed = GPIO_SPEED_FREQ_LOW;
  HAL_GPIO_Init(GPIOB, &GPIO_InitStruct);

  /*Configure GPIO pin : GSM_RI_Pin */
  GPIO_InitStruct.Pin = GSM_RI_Pin;
  GPIO_InitStruct.Mode = GPIO_MODE_IT_RISING;
  GPIO_InitStruct.Pull = GPIO_PULLUP;
  HAL_GPIO_Init(GSM_RI_GPIO_Port, &GPIO_InitStruct);

  /*Configure GPIO pins : SWITCH1_Pin INPUT1_Pin INPUT2_Pin INPUT3_Pin
                           INPUT4_Pin */
  GPIO_InitStruct.Pin = SWITCH1_Pin|INPUT1_Pin|INPUT2_Pin|INPUT3_Pin
                          |INPUT4_Pin;
  GPIO_InitStruct.Mode = GPIO_MODE_INPUT;
  GPIO_InitStruct.Pull = GPIO_NOPULL;
  HAL_GPIO_Init(GPIOD, &GPIO_InitStruct);

  /* EXTI interrupt init*/
  HAL_NVIC_SetPriority(EXTI9_5_IRQn, 5, 0);
  HAL_NVIC_EnableIRQ(EXTI9_5_IRQn);

}

/* USER CODE BEGIN 4 */
extern void Ampm_SetRinging(void);
void HAL_GPIO_EXTI_Callback(uint16_t GPIO_Pin)
{
  /* Prevent unused argument(s) compilation warning */
  UNUSED(GPIO_Pin);
  /* NOTE: This function Should not be modified, when the callback is needed,
           the HAL_GPIO_EXTI_Callback could be implemented in the user file
   */
	if(GPIO_Pin == GPIO_PIN_8)
	{
		Ampm_SetRinging();
	}

}

uint32_t rtcCallbackCnt = 0;
extern void Alarm_Callback(void);
void HAL_RTC_AlarmAEventCallback(RTC_HandleTypeDef *hrtc)
{
  /* Prevent unused argument(s) compilation warning */
  UNUSED(hrtc);
  /* NOTE : This function Should not be modified, when the callback is needed,
            the HAL_RTC_AlarmAEventCallback could be implemented in the user file
   */
	rtcCallbackCnt++;
	Alarm_Callback();
}

/* USER CODE END 4 */

/* StartDefaultTask function */
void StartDefaultTask(void const * argument)
{

  /* USER CODE BEGIN 5 */
	//HAL_GPIO_WritePin(LED_SYS_GPIO_Port,LED_SYS_Pin, GPIO_PIN_SET);
	//HAL_GPIO_WritePin(LED_GSM_GPIO_Port,LED_GSM_Pin, GPIO_PIN_SET);
  /* Infinite loop */
  for(;;)
  {
		vSmartLightMainTask();
  }
  /* USER CODE END 5 */
}

void HAL_TIM_PeriodElapsedCallback(TIM_HandleTypeDef *htim)
{
/* USER CODE BEGIN Callback 0 */
	static uint32_t tim_cnt = 0;
	uint8_t c;
	tim_cnt++;
	IWDG->KR = ((uint16_t)0xAAAA);
	SysWatchdog();
	//HAL_GPIO_ReadPin(SWITCH1_GPIO_Port,SWITCH1_Pin);
	if(tim_cnt % 10 == 0)
	{
		CtrLed(10);
		if(USART1_IsOk())
		{
			while(mUSART1_GetChar(&c) == 0)
			{
				COMM_PutcRx(c);
				if(Ampm_GsmGetPhase() != AMPM_GSM_MAIN_DATACALL_PHASE)
				{
					AT_ComnandParser(c);
				}
			}
		}
	}
	if(tim_cnt % 1000 == 0)
		life_span++;
/* USER CODE END Callback 0 */
  if (htim->Instance == TIM1) {
    HAL_IncTick();
  }
}

void _Error_Handler(char * file, int line)
{
  while(1)
  {
  }
}

/************************ (C) COPYRIGHT STMicroelectronics *****END OF FILE****/
